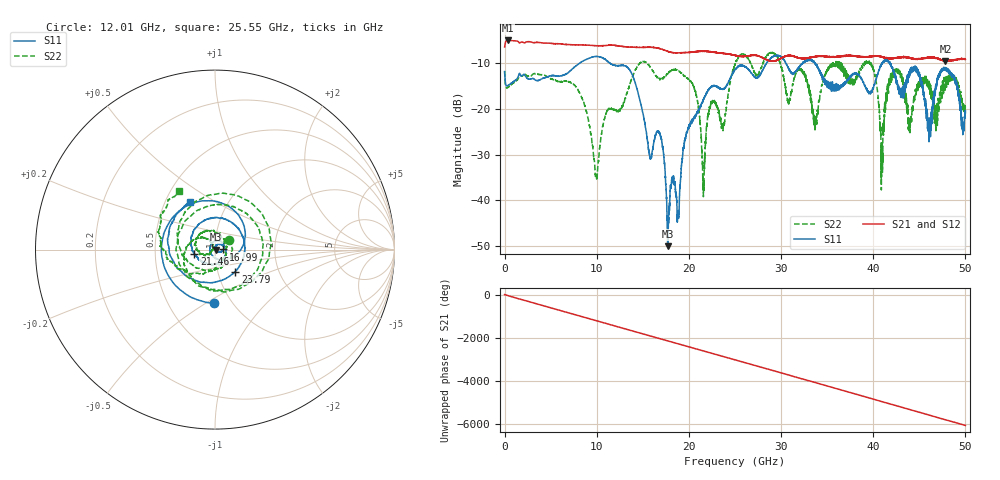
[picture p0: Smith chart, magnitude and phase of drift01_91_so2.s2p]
!Created with skrf (http://scikit-rf.org).
# Hz S RI R 50.0
!freq ReS11 ImS11 ReS21 ImS21 ReS12 ImS12 ReS22 ImS22
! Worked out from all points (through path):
!   10001 points, 300 kHz to 50 GHz, reference 50 ohm
!   highest |S21| = -5.05 dB at 365.3 MHz (marker M1); lowest = -9.6 dB at 47.84 GHz (marker M2)
!   group delay of S21, straight-line fit = 336 ps
!   lowest |S11| = -50.0 dB at 17.7 GHz (marker M3), VSWR 1.01, Z = 50.3 - j0.0842 ohm
!   |S11| at or under -10 dB: start of sweep to 8.166 GHz; 11.43 GHz to 28.43 GHz (17 GHz wide, 85.3 % of centre); 41.8 GHz to end of sweep (the widest 3 of 10)
!   |S22| runs from -39.2 to -7.6 dB; largest |S21 - S12| = 0.015
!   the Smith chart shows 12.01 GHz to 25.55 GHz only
!   S11 on the Smith chart (normalised r, x): 12.01 GHz: 0.83, -0.54; 16.99 GHz: 1.10, +0.00; 21.46 GHz: 0.79, -0.04; 23.79 GHz: 1.21, -0.31; 25.55 GHz: 0.67, +0.39
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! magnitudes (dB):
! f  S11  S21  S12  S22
! 300 kHz  -11.9  -6.5  -6.5  -11.8
! 365.3 MHz  -14.9  -5.1  -5.1  -15.3
! 8.335 GHz  -9.8  -6.0  -6.0  -17.5
! 9.945 GHz  -8.6  -6.2  -6.2  -34.5
! 12.01 GHz  -10.5  -6.1  -6.1  -20.4
! 16.67 GHz  -24.8  -6.8  -6.8  -13.4
! 16.99 GHz  -26.5  -6.9  -6.9  -13.5
! 17.7 GHz  -50.0  -7.4  -7.4  -12.3
! 20.5 GHz  -22.3  -7.6  -7.5  -15.1
! 21.46 GHz  -18.6  -7.4  -7.4  -31.5
! 22.46 GHz  -15.1  -7.6  -7.6  -18.9
! 23.79 GHz  -15.6  -7.9  -7.9  -23.3
! 25 GHz  -11.4  -8.3  -8.3  -10.2
! 25.55 GHz  -10.6  -8.5  -8.5  -8.3
! 33.34 GHz  -9.4  -8.7  -8.7  -19.5
! 39.48 GHz  -16.3  -8.6  -8.6  -10.0
! 40.95 GHz  -10.1  -8.6  -8.6  -28.2
! 41.67 GHz  -9.7  -8.8  -8.9  -14.5
! 44.76 GHz  -11.7  -9.1  -9.1  -15.1
! 46.1 GHz  -24.9  -8.8  -8.8  -15.3
! 47.84 GHz  -11.3  -9.6  -9.6  -14.2
! 50 GHz  -20.8  -9.2  -9.2  -19.9
